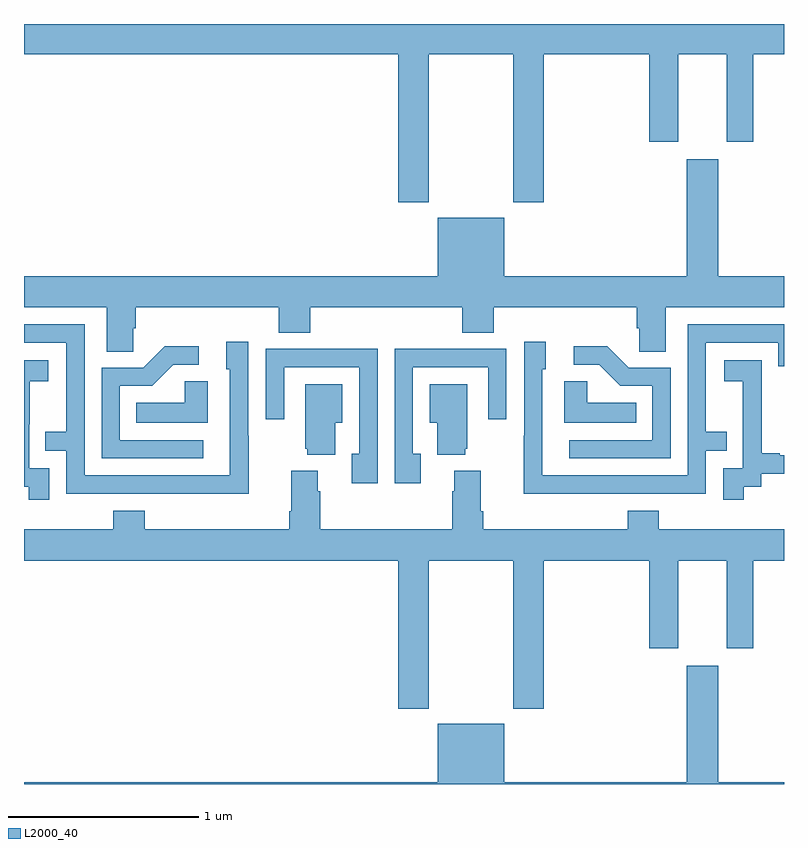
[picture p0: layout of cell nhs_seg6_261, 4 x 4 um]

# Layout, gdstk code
import gdstk
lib = gdstk.Library(unit=1e-6, precision=1e-09)
def P(c, l, *ps):  # polygons
    for p in ps: c.add(gdstk.Polygon(p, *l))
L2000_40 = (2000, 40)

nhs_seg6_261 = lib.new_cell('nhs_seg6_261')
P(nhs_seg6_261, L2000_40, [(127.131,943.34),(127.576,943.34),(127.576,942.561),(127.736,942.561),(127.736,943.34),(128.291,943.34),(128.291,942.879),(128.443,942.879),(128.443,943.34),(128.699,943.34),(128.699,942.879),(128.839,942.879),(128.839,943.34),(129,943.34),(129,943.5),(125,943.5),(125,943.34),(126.971,943.34),(126.971,942.561),(127.131,942.561)],
  [(125.574,941.899),(125.588,941.899),(125.588,942.008),(126.341,942.008),(126.341,941.875),(126.506,941.875),(126.506,942.008),(127.307,942.008),(127.307,941.875),(127.472,941.875),(127.472,942.008),(128.225,942.008),(128.225,941.899),(128.238,941.899),(128.238,941.776),(128.377,941.776),(128.377,942.008),(129,942.008),(129,942.172),(128.653,942.172),(128.653,942.787),(128.489,942.787),(128.489,942.172),(127.528,942.172),(127.528,942.481),(127.178,942.481),(127.178,942.172),(125,942.172),(125,942.008),(125.435,942.008),(125.435,941.776),(125.574,941.776)],
  [(126.183,941.333),(126.18,941.333),(126.18,941.827),(126.065,941.827),(126.065,941.682),(126.084,941.682),(126.084,941.124),(125.319,941.124),(125.319,941.919),(125,941.919),(125,941.823),(125.223,941.823),(125.223,941.354),(125.113,941.354),(125.113,941.253),(125.223,941.253),(125.223,941.028),(125.719,941.028),(125.719,941.027),(126.183,941.027)],
  [(128.093,941.028),(128.589,941.028),(128.589,941.253),(128.699,941.253),(128.699,941.354),(128.589,941.354),(128.589,941.823),(128.97,941.823),(128.97,941.7),(129,941.7),(129,941.919),(128.493,941.919),(128.493,941.124),(127.728,941.124),(127.728,941.682),(127.747,941.682),(127.747,941.827),(127.632,941.827),(127.632,941.333),(127.63,941.333),(127.63,941.027),(128.093,941.027)],
  [(128.403,941.691),(128.184,941.691),(128.071,941.804),(127.893,941.804),(127.893,941.706),(128.027,941.706),(128.138,941.595),(128.307,941.595),(128.307,941.31),(127.869,941.31),(127.869,941.214),(128.403,941.214)],
  [(125.944,941.31),(125.505,941.31),(125.505,941.595),(125.674,941.595),(125.785,941.706),(125.92,941.706),(125.92,941.804),(125.741,941.804),(125.628,941.691),(125.409,941.691),(125.409,941.214),(125.944,941.214)],
  [(126.861,941.792),(126.589,941.792),(126.589,941.79),(126.273,941.79),(126.273,941.421),(126.369,941.421),(126.369,941.694),(126.765,941.694),(126.765,941.238),(126.725,941.238),(126.725,941.082),(126.861,941.082)],
  [(127.087,941.238),(127.047,941.238),(127.047,941.694),(127.443,941.694),(127.443,941.421),(127.539,941.421),(127.539,941.79),(127.223,941.79),(127.223,941.792),(126.951,941.792),(126.951,941.082),(127.087,941.082)],
  [(125.133,941.163),(125.028,941.163),(125.028,941.393),(125.03,941.393),(125.03,941.621),(125.128,941.621),(125.128,941.731),(125,941.731),(125,941.065),(125.025,941.065),(125.025,940.995),(125.133,940.995)],
  [(128.788,941.065),(128.88,941.065),(128.88,941.133),(129,941.133),(129,941.229),(128.977,941.229),(128.977,941.242),(128.882,941.242),(128.882,941.525),(128.883,941.525),(128.883,941.731),(128.685,941.731),(128.685,941.621),(128.783,941.621),(128.783,941.393),(128.784,941.393),(128.784,941.163),(128.679,941.163),(128.679,940.995),(128.788,940.995)],
  [(125.968,941.621),(125.847,941.621),(125.847,941.506),(125.59,941.506),(125.59,941.402),(125.968,941.402)],
  [(128.222,941.506),(127.965,941.506),(127.965,941.621),(127.844,941.621),(127.844,941.402),(128.222,941.402)],
  [(126.637,941.402),(126.676,941.402),(126.676,941.605),(126.479,941.605),(126.479,941.265),(126.491,941.265),(126.491,941.234),(126.637,941.234)],
  [(127.322,941.265),(127.333,941.265),(127.333,941.605),(127.136,941.605),(127.136,941.402),(127.175,941.402),(127.175,941.234),(127.322,941.234)],
  [(127.131,940.676),(127.576,940.676),(127.576,939.897),(127.736,939.897),(127.736,940.676),(128.291,940.676),(128.291,940.215),(128.443,940.215),(128.443,940.676),(128.699,940.676),(128.699,940.215),(128.839,940.215),(128.839,940.676),(129,940.676),(129,940.84),(128.342,940.84),(128.342,940.939),(128.177,940.939),(128.177,940.84),(127.418,940.84),(127.418,940.936),(127.405,940.936),(127.405,941.149),(127.265,941.149),(127.265,941.042),(127.253,941.042),(127.253,940.84),(126.56,940.84),(126.56,941.042),(126.547,941.042),(126.547,941.149),(126.407,941.149),(126.407,940.936),(126.395,940.936),(126.395,940.84),(125.636,940.84),(125.636,940.939),(125.471,940.939),(125.471,940.84),(125,940.84),(125,940.676),(126.971,940.676),(126.971,939.897),(127.131,939.897)],
  [(129,939.508),(128.653,939.508),(128.653,940.123),(128.489,940.123),(128.489,939.508),(127.528,939.508),(127.528,939.817),(127.178,939.817),(127.178,939.508),(125,939.508),(125,939.5),(129,939.5)])

lib.write_gds('nhs_seg6_261.gds')
